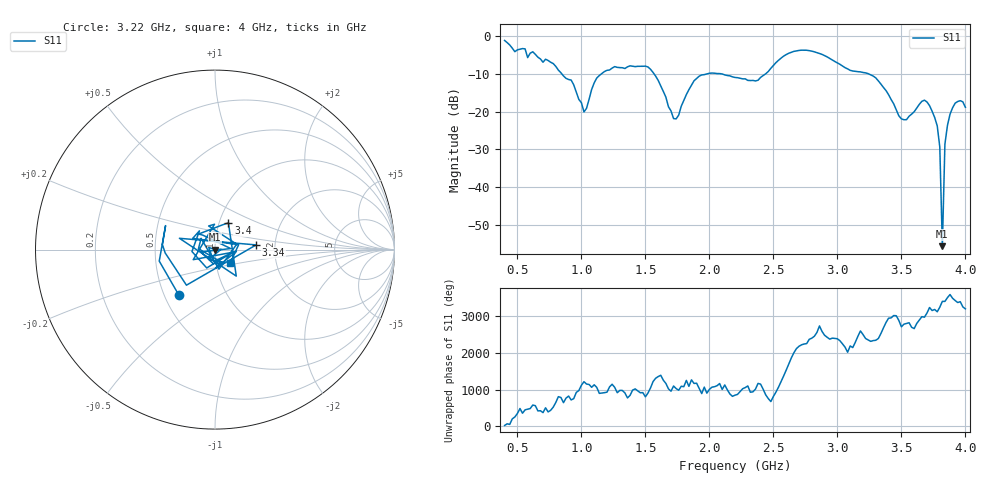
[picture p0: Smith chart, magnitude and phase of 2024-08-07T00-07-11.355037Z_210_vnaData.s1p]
!Created with skrf (http://scikit-rf.org).
# Hz S RI R 50.0
!freq ReS11 ImS11
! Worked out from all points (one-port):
!   181 points, 400 MHz to 4 GHz, reference 50 ohm
!   lowest |S11| = -55.6 dB at 3.82 GHz (marker M1), VSWR 1.00, Z = 49.8 + j0.0539 ohm
!   |S11| at or under -10 dB: 1.567 GHz to 1.987 GHz (420.4 MHz wide, 23.7 % of centre); 2.088 GHz to 2.441 GHz (353 MHz wide, 15.6 % of centre); 3.242 GHz to end of sweep (the widest 3 of 4)
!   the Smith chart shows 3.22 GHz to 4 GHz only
!   S11 on the Smith chart (normalised r, x): 3.22 GHz: 0.59, -0.34; 3.34 GHz: 1.59, +0.09; 3.4 GHz: 1.11, +0.34; 4 GHz: 1.17, -0.18
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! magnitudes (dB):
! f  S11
! 400 MHz  -1.2
! 860 MHz  -10.6
! 920 MHz  -11.7
! 1.02 GHz  -20.1
! 1.12 GHz  -11.1
! 1.3 GHz  -8.4
! 1.52 GHz  -8.2
! 1.6 GHz  -11.8
! 1.72 GHz  -21.9
! 1.76 GHz  -21.0
! 1.92 GHz  -10.7
! 2.2 GHz  -11.0
! 2.38 GHz  -11.7
! 2.66 GHz  -4.1
! 3.1 GHz  -9.1
! 3.22 GHz  -9.8
! 3.34 GHz  -12.7
! 3.4 GHz  -15.6
! 3.5 GHz  -21.9
! 3.56 GHz  -21.2
! 3.68 GHz  -17.0
! 3.78 GHz  -23.8
! 3.8 GHz  -29.4
! 3.82 GHz  -55.6
! 3.84 GHz  -28.6
! 3.86 GHz  -23.6
! 3.92 GHz  -17.8
! 4 GHz  -18.9
